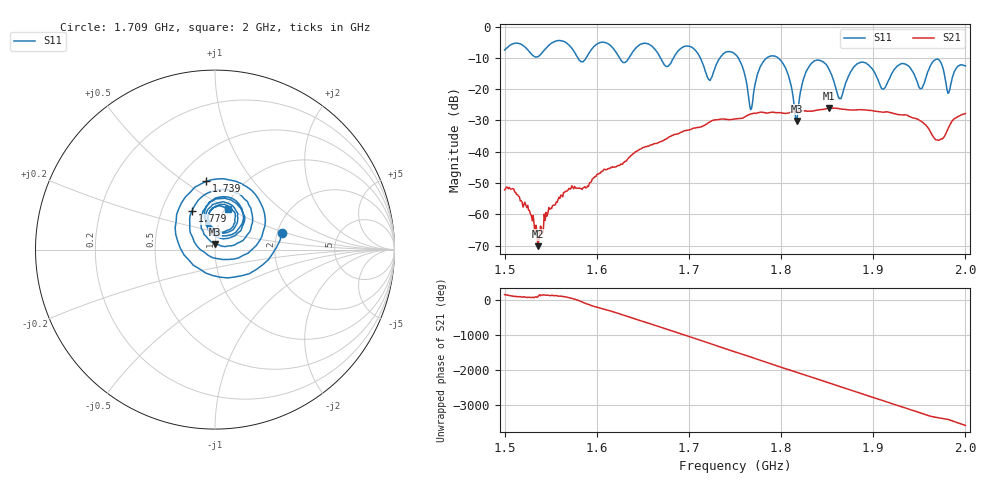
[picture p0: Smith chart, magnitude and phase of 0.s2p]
! NanoVNA-App by SYSJOINT et al v1.1.209 (+OD18)
! Date: 2026-01-21 14:31:04
! Start: 1,5GHz Stop: 2GHz Points: 501
! S-Parameter data: F S11 S21 S12 S22
# Hz S RI R 50
!  Frequency  S11_Real  S11_Imag  S21_Real  S21_Imag  S12_Real  S12_Imag  S22_Real  S22_Imag
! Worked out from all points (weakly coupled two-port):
!   501 points, 1.5 GHz to 2 GHz, reference 50 ohm
!   highest |S21| = -26.04 dB at 1.852 GHz (marker M1); lowest = -70.1 dB at 1.536 GHz (marker M2)
!   lowest |S11| = -30.2 dB at 1.817 GHz (marker M3), VSWR 1.06, Z = 50.1 + j3.1 ohm
!   |S11| at or under -10 dB: 1.712 GHz to 1.734 GHz (21.43 MHz wide, 1.24 % of centre); 1.754 GHz to 1.785 GHz (31.07 MHz wide, 1.76 % of centre); 1.797 GHz to end of sweep (the widest 3 of 6)
!   S12 and S22 are empty: the file has one direction only
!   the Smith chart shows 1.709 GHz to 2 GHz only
!   S11 on the Smith chart (normalised r, x): 1.709 GHz: 2.12, +0.47; 1.739 GHz: 0.68, +0.61; 1.779 GHz: 0.71, +0.32; 2 GHz: 1.03, +0.49
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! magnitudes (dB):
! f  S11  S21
! 1.5 GHz  -7.5  -52.2
! 1.536 GHz  -9.6  -70.1
! 1.584 GHz  -11.2  -52.0
! 1.667 GHz  -8.9  -37.1
! 1.709 GHz  -8.3  -32.2
! 1.722 GHz  -17.0  -30.6
! 1.739 GHz  -8.3  -29.6
! 1.75 GHz  -8.8  -29.5
! 1.767 GHz  -26.5  -27.9
! 1.779 GHz  -12.1  -27.4
! 1.801 GHz  -11.3  -27.6
! 1.817 GHz  -30.2  -27.1
! 1.834 GHz  -11.5  -27.0
! 1.852 GHz  -13.6  -26.0
! 1.864 GHz  -22.9  -26.3
! 1.885 GHz  -11.6  -26.5
! 1.917 GHz  -16.9  -27.4
! 1.934 GHz  -11.9  -28.2
! 1.952 GHz  -19.8  -30.2
! 1.97 GHz  -10.4  -36.2
! 1.982 GHz  -21.1  -32.1
! 2 GHz  -12.6  -27.8
